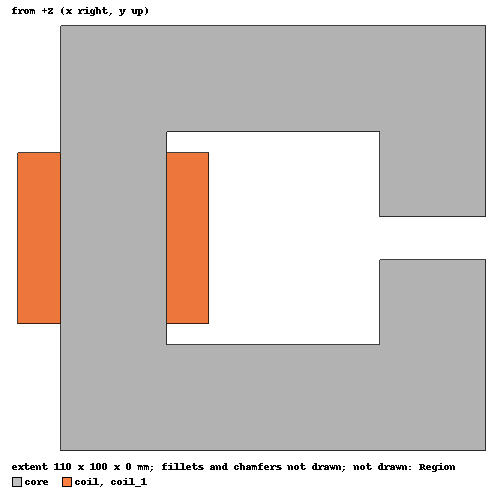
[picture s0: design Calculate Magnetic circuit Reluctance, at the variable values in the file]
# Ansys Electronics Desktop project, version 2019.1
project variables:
  $dm = 10mm
  $g = 1mm
  $Sigma = 58000000*(1/(1+0.00393*($Coil_Temp-20cel)))  # Copper Conductivity in S/m
  $Coil_Temp = 20cel  # Temperature of Coil in Celsius
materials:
  copper: permeability=0.999991 conductivity=58000000
  steel_1010: permittivity=1 permeability{BType=normal HUnit=A_per_meter BUnit=tesla curve (0, 0) (238.7, 0.2003) (318.3, 0.3204) (358.1, 0.40045) (437.7, 0.50055) (477.5, 0.5606) (636.6, 0.7908) (795.8, 0.931) (1114.1, 1.1014) (1273.2, 1.2016) (1591.5, 1.302) (2228.2, 1.4028) (3183.1, 1.524) (4774.6, 1.626) (6366.2, 1.698) (7957.7, 1.73) (15915.5, 1.87) (31831, 1.99) (47746.5, 2.04) (63662, 2.07) (79577.5, 2.095) (159155, 2.2) (318310, 2.4)} conductivity=2000000 lande_g_factor=2
  vacuum: permittivity=1

design Calculate Magnetic circuit Reluctance (Maxwell 2D, Magnetostatic, XY geometry, model units mm)
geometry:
  core [steel_1010] = rectangle(corner=(0mm, 0mm, 0mm), x_size=100mm, y_size=100mm)
  Rectangle1 = rectangle(corner=(25mm, 25mm, 0mm), x_size=50mm, y_size=50mm)
  core.subtract(Rectangle1)
  Rectangle2 = rectangle(corner=(75mm, 55mm, 0mm), x_size=25mm, y_size=-10mm)
  core.subtract(Rectangle2)
  coil [copper] = rectangle(corner=(25mm, 30mm, 0mm), x_size=10mm, y_size=40mm)
  coil_1 [copper] = coil.duplicate_along_line(step=(-35mm, 0mm, 0mm), total=2)
  Region [vacuum] = region(percentage_offset: +X=50, -X=50, +Y=50, -Y=50, +Z=0, -Z=0)
  core.fillet(Vertices=core.vertex(#36, #37, #34, #35) Radius=1mm Setback=0mm)
  core.chamfer(Vertices=core.vertex(4 of 4, 3 of 4, 2 of 4, 1 of 4) LeftDistance=1mm RightDistance=1mm ChamferType=Symmetric)
  core_h_line = polyline(z=0mm, xy in mm: (87.5, 55) (87.5, 75) (83.838835, 83.838835) (75, 87.5) (25, 87.5) (16.161165, 83.838835) (12.5, 75) (12.5, 25) (16.161165, 16.161165) (25, 12.5) (75, 12.5) (83.838835, 16.161165) (87.5, 25) (87.5, 45), AngularArc from point 1 over 3 centre=(75mm, 75mm, 0mm) angle=90deg plane=XY, AngularArc from point 4 over 3 centre=(25mm, 75mm, 0mm) angle=90deg plane=XY, AngularArc from point 7 over 3 centre=(25mm, 25mm, 0mm) angle=90deg plane=XY, AngularArc from point 10 over 3 centre=(75mm, 25mm, 0mm) angle=90deg plane=XY)
  airgap_h_line = polyline((87.5mm, 45mm, 0mm) (87.5mm, 55mm, 0mm))
  core_b_line [non-model] = polyline((0mm, 50mm, 0mm) (25mm, 50mm, 0mm))
  airgap_b_line [non-model] = polyline((75mm, 55mm, 0mm) (100mm, 55mm, 0mm))
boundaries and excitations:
  Balloon1: Balloon Edges=Region.edge(all 4)
  Current_1: Current Objects=coil_1 Current=500mA IsPositive=true
  Current_2: Current Objects=coil Current=500mA IsPositive=false
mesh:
  initial mesh: MeshMethod=AnsoftTAU
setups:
  Setup1: Magnetostatic MaximumPasses=10 MinimumPasses=2 MinimumConvergedPasses=1 PercentRefinement=30 PercentError=1 NonLinearResidual=0.0001
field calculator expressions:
  H_dl_core = Fundamental_Quantity(21) | Tangent | Dot | EnterLine(core_h_line) | LineValue | Integrate
  H_dl_airgap = Fundamental_Quantity(21) | Tangent | Dot | EnterLine(airgap_h_line) | LineValue | Integrate
  B_ndA_core = Fundamental_Quantity(22) | 2D_Normal | Dot | EnterLine(core_b_line) | LineValue | Integrate | 0.05 | *
  B_ndA_airgap = Fundamental_Quantity(22) | 2D_Normal | Dot | EnterLine(airgap_b_line) | LineValue | Integrate | 0.05 | *
  reluctance_core = H_dl_core | B_ndA_core | /
  reluctance_airgap = H_dl_airgap | B_ndA_airgap | /
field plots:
  Flux_Lines1: A on Setup1 : LastAdaptive
  Mag_B1: B over core on Setup1 : LastAdaptive
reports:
  Calculator Expressions Plot 1: reluctance_core, reluctance_airgap vs $dm on Setup1 : LastAdaptive; markers MX1 at x=0.01
